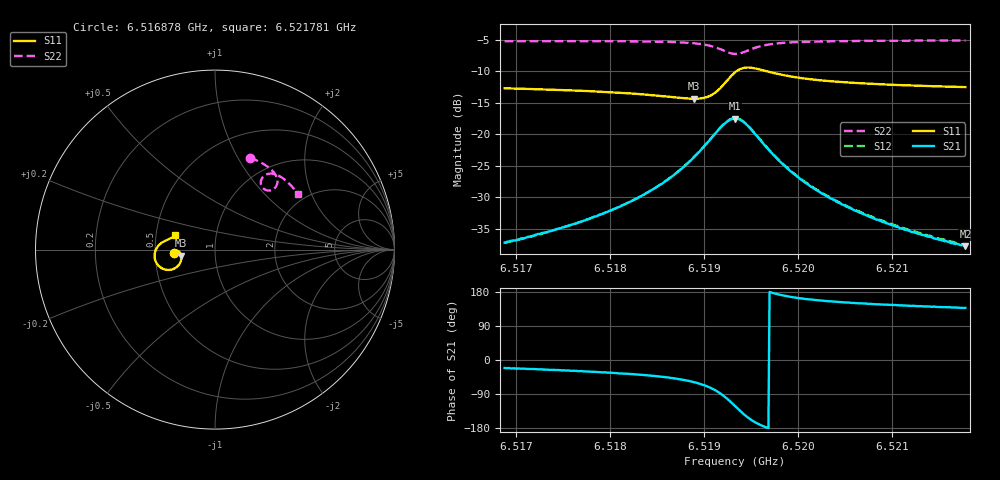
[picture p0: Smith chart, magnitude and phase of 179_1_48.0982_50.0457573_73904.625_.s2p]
#  HZ  S  RI  R  50.00
! Rohde & Schwarz Vector Network Analyzer
! Rohde-Schwarz,ZNB20-2Port,1311601062101988,3.16
! Created: UTC 12/23/2023, 3:52:33 AM
! freq[Hz]  re:S11  im:S11  re:S21  im:S21  re:S12  im:S12  re:S22  im:S22
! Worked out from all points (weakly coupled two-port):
!   401 points, 6.516878 GHz to 6.521781 GHz, reference 50 ohm
!   highest |S21| = -17.50 dB at 6.51933 GHz (marker M1); lowest = -37.8 dB at 6.521781 GHz (marker M2)
!   lowest |S11| = -14.4 dB at 6.518888 GHz (marker M3), VSWR 1.47, Z = 34.1 - j2.35 ohm
!   |S11| at or under -10 dB: start of sweep to 6.519343 GHz; 6.51967 GHz to end of sweep
!   |S22| runs from -7.2 to -5.1 dB; largest |S21 - S12| = 0.0041
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6.5168782e9  -0.2311 -0.0194  0.0129 -0.00493  0.0131 -0.00457  0.1946 0.5124
6.5172826e9  -0.227 -0.0133  0.015 -0.0069  0.015 -0.0064  0.2246 0.5003
6.5176994e9  -0.2213 -0.00813  0.0178 -0.00983  0.018 -0.00948  0.2554 0.4854
6.5181284e9  -0.213 -0.00563  0.0221 -0.0158  0.0226 -0.0152  0.2876 0.4659
6.5185206e9  -0.2021 -0.00977  0.0285 -0.0269  0.0293 -0.0261  0.3179 0.4415
6.5187289e9  -0.1943 -0.0184  0.0324 -0.039  0.0339 -0.0382  0.334 0.4222
6.5188883e9  -0.1886 -0.0332  0.0345 -0.0552  0.0363 -0.0544  0.3443 0.4014
6.5190108e9  -0.1881 -0.0537  0.0313 -0.0752  0.0339 -0.0747  0.348 0.3786
6.5190966e9  -0.1947 -0.0745  0.022 -0.0941  0.0251 -0.0941  0.3437 0.3587
6.5192315e9  -0.2358 -0.1095  -0.0199 -0.122  -0.0164 -0.1236  0.3124 0.3306
6.5192805e9  -0.2626 -0.1133  -0.0447 -0.1229  -0.0415 -0.1251  0.2932 0.3293
6.5193295e9  -0.2916 -0.1063  -0.0698 -0.1137  -0.0671 -0.1165  0.2743 0.337
6.5193785e9  -0.316 -0.0884  -0.0896 -0.0954  -0.0875 -0.0986  0.2606 0.3525
6.5194398e9  -0.3333 -0.0578  -0.1017 -0.067  -0.1006 -0.0706  0.2553 0.3757
6.5195501e9  -0.3328 -0.00893  -0.096 -0.0253  -0.096 -0.0284  0.2696 0.4074
6.5196605e9  -0.3169 0.0197  -0.0792 -0.00348  -0.0799 -0.00579  0.2921 0.4209
6.5198933e9  -0.2872 0.0442  -0.0517 0.0112  -0.0526 0.00985  0.3307 0.421
6.5201507e9  -0.2673 0.0538  -0.0355 0.0134  -0.0362 0.0126  0.3596 0.409
6.5205307e9  -0.2505 0.0609  -0.0232 0.0124  -0.0238 0.012  0.3901 0.3879
6.5209719e9  -0.2384 0.0675  -0.0159 0.0109  -0.0165 0.0107  0.4184 0.3619
6.5213764e9  -0.2303 0.0732  -0.012 0.0097  -0.0125 0.0095  0.4403 0.3375
6.5217809e9  -0.2235 0.0788  -0.00953 0.00871  -0.00981 0.00856  0.46 0.3123
